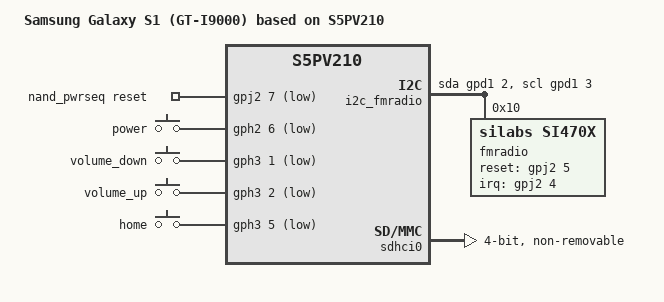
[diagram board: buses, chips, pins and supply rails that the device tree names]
// SPDX-License-Identifier: GPL-2.0

/dts-v1/;
#include <dt-bindings/gpio/gpio.h>
#include <dt-bindings/input/input.h>
#include "s5pv210-aries.dtsi"

/ {
	model = "Samsung Galaxy S1 (GT-I9000) based on S5PV210";
	compatible = "samsung,galaxys", "samsung,aries", "samsung,s5pv210";

	chosen {
		stdout-path = &uart2;
	};

	nand_pwrseq: nand-pwrseq {
		compatible = "mmc-pwrseq-simple";
		reset-gpios = <&gpj2 7 GPIO_ACTIVE_LOW>;
		pinctrl-names = "default";
		pinctrl-0 = <&massmemory_en>;
	};

	gpio-keys {
		compatible = "gpio-keys";

		power {
			label = "power";
			gpios = <&gph2 6 GPIO_ACTIVE_LOW>;
			linux,code = <KEY_POWER>;
			wakeup-source;
		};

		vol-down {
			label = "volume_down";
			gpios = <&gph3 1 GPIO_ACTIVE_LOW>;
			linux,code = <KEY_VOLUMEDOWN>;
		};

		vol-up {
			label = "volume_up";
			gpios = <&gph3 2 GPIO_ACTIVE_LOW>;
			linux,code = <KEY_VOLUMEUP>;
		};

		home {
			label = "home";
			gpios = <&gph3 5 GPIO_ACTIVE_LOW>;
			linux,code = <KEY_HOME>;
			wakeup-source;
		};
	};

	i2c_fmradio: i2c-gpio-4 {
		compatible = "i2c-gpio";
		sda-gpios = <&gpd1 2 (GPIO_ACTIVE_HIGH | GPIO_OPEN_DRAIN)>;
		scl-gpios = <&gpd1 3 (GPIO_ACTIVE_HIGH | GPIO_OPEN_DRAIN)>;
		i2c-gpio,delay-us = <2>;
		#address-cells = <1>;
		#size-cells = <0>;

		fmradio@10 {
			compatible = "silabs,si470x";
			interrupt-parent = <&gpj2>;
			interrupts = <4 IRQ_TYPE_EDGE_FALLING>;
			reset-gpios = <&gpj2 5 GPIO_ACTIVE_HIGH>;
			pinctrl-names = "default";
			pinctrl-0 = <&fm_irq>;
			reg = <0x10>;
		};
	};
};

&pinctrl0 {
	fm_irq: fm-irq {
		samsung,pins = "gpj2-4";
		samsung,pin-function = <EXYNOS_PIN_FUNC_INPUT>;
		samsung,pin-pud = <S3C64XX_PIN_PULL_UP>;
		samsung,pin-drv = <EXYNOS4_PIN_DRV_LV1>;
	};

	massmemory_en: massmemory-en {
		samsung,pins = "gpj2-7";
		samsung,pin-function = <EXYNOS_PIN_FUNC_OUTPUT>;
		samsung,pin-pud = <S3C64XX_PIN_PULL_NONE>;
		samsung,pin-drv = <EXYNOS4_PIN_DRV_LV1>;
	};
};

&sdhci0 {
	bus-width = <4>;
	non-removable;
	mmc-pwrseq = <&nand_pwrseq>;
	pinctrl-0 = <&sd0_clk &sd0_cmd &sd0_bus4>;
	pinctrl-names = "default";
	status = "okay";
};
